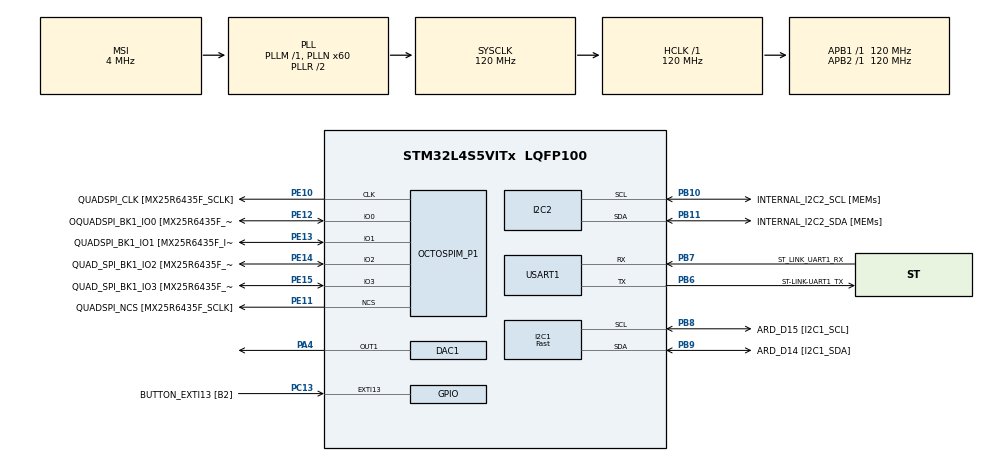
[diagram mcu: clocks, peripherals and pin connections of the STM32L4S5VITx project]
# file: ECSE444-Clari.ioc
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DAC1.DAC_Trigger-DAC_OUT1=DAC_TRIGGER_T1_TRGO
Dma.DAC1_CH1.0.Direction=DMA_MEMORY_TO_PERIPH
Dma.DAC1_CH1.0.EventEnable=DISABLE
Dma.DAC1_CH1.0.Instance=DMA1_Channel1
Dma.DAC1_CH1.0.MemDataAlignment=DMA_MDATAALIGN_WORD
Dma.DAC1_CH1.0.MemInc=DMA_MINC_ENABLE
Dma.DAC1_CH1.0.Mode=DMA_NORMAL
Dma.DAC1_CH1.0.PeriphDataAlignment=DMA_PDATAALIGN_WORD
Dma.DAC1_CH1.0.PeriphInc=DMA_PINC_DISABLE
Dma.DAC1_CH1.0.Polarity=HAL_DMAMUX_REQUEST_GEN_RISING
Dma.DAC1_CH1.0.Priority=DMA_PRIORITY_HIGH
Dma.DAC1_CH1.0.RequestNumber=1
Dma.DAC1_CH1.0.SignalID=NONE
Dma.DAC1_CH1.0.SyncEnable=DISABLE
Dma.DAC1_CH1.0.SyncPolarity=HAL_DMAMUX_SYNC_NO_EVENT
Dma.DAC1_CH1.0.SyncRequestNumber=1
Dma.DAC1_CH1.0.SyncSignalID=NONE
Dma.Request0=DAC1_CH1
I2C1.I2C_Speed_Mode=I2C_Fast
I2C1.Timing=0x00B03FDB
I2C2.Timing=0x307075B1
Mcu.Family=STM32L4
Mcu.Name=STM32L4S5VITx
Mcu.Package=LQFP100
NVIC.DMA1_Channel1_IRQn=true\:0\:0\:false\:false\:true\:false\:true\:true
NVIC.EXTI15_10_IRQn=true\:0\:0\:false\:false\:true\:true\:true\:true
NVIC.PriorityGroup=NVIC_PRIORITYGROUP_4
NVIC.TIM1_TRG_COM_TIM17_IRQn=true\:0\:0\:false\:false\:true\:true\:true\:true
NVIC.TIM1_UP_TIM16_IRQn=true\:0\:0\:false\:false\:true\:true\:true\:true
NVIC.TIM2_IRQn=true\:0\:0\:false\:false\:true\:true\:true\:true
PA13\ (JTMS/SWDIO).GPIO_Label=SYS_JTMS_SWDIO
PA13\ (JTMS/SWDIO).Mode=Serial_Wire
PA13\ (JTMS/SWDIO).Signal=SYS_JTMS-SWDIO
PA14\ (JTCK/SWCLK).GPIO_Label=SYS_JTCK_SWCLK
PA14\ (JTCK/SWCLK).Mode=Serial_Wire
PA14\ (JTCK/SWCLK).Signal=SYS_JTCK-SWCLK
PA4.Signal=COMP_DAC11_group
PB10.GPIO_Label=INTERNAL_I2C2_SCL [MEMs]
PB10.GPIO_Mode=GPIO_MODE_AF_OD
PB10.GPIO_PuPdOD=GPIO_PULLUP
PB10.GPIO_Speed=GPIO_SPEED_FREQ_VERY_HIGH
PB10.Mode=I2C
PB10.Signal=I2C2_SCL
PB11.GPIO_Label=INTERNAL_I2C2_SDA [MEMs]
PB11.GPIO_Mode=GPIO_MODE_AF_OD
PB11.GPIO_PuPdOD=GPIO_PULLUP
PB11.GPIO_Speed=GPIO_SPEED_FREQ_VERY_HIGH
PB11.Mode=I2C
PB11.Signal=I2C2_SDA
PB6.GPIO_Label=ST-LINK-UART1_TX
PB6.GPIO_ModeDefaultPP=GPIO_MODE_AF_PP
PB6.GPIO_PuPd=GPIO_NOPULL
PB6.GPIO_Speed=GPIO_SPEED_FREQ_VERY_HIGH
PB6.Mode=Asynchronous
PB6.Signal=USART1_TX
PB7.GPIO_Label=ST_LINK_UART1_RX
PB7.GPIO_ModeDefaultPP=GPIO_MODE_AF_PP
PB7.GPIO_PuPd=GPIO_NOPULL
PB7.GPIO_Speed=GPIO_SPEED_FREQ_VERY_HIGH
PB7.Mode=Asynchronous
PB7.Signal=USART1_RX
PB8.GPIO_FM8=__NULL
PB8.GPIO_Label=ARD_D15 [I2C1_SCL]
PB8.GPIO_Mode=GPIO_MODE_AF_OD
PB8.GPIO_PuPdOD=GPIO_PULLUP
PB8.GPIO_Speed=GPIO_SPEED_FREQ_VERY_HIGH
PB8.Mode=I2C
PB8.Signal=I2C1_SCL
PB9.GPIO_FM9=__NULL
PB9.GPIO_Label=ARD_D14 [I2C1_SDA]
PB9.GPIO_Mode=GPIO_MODE_AF_OD
PB9.GPIO_PuPdOD=GPIO_PULLUP
PB9.GPIO_Speed=GPIO_SPEED_FREQ_VERY_HIGH
PB9.Mode=I2C
PB9.Signal=I2C1_SDA
PC13.GPIO_Label=BUTTON_EXTI13 [B2]
PC13.GPIO_ModeDefaultEXTI=GPIO_MODE_IT_RISING
PC13.GPIO_PuPd=GPIO_NOPULL
PC13.Signal=GPXTI13
PE10.GPIO_Label=QUADSPI_CLK [MX25R6435F_SCLK]
PE10.GPIO_Mode=GPIO_MODE_AF_PP
PE10.GPIO_PuPd=GPIO_NOPULL
PE10.GPIO_Speed_High_Default=GPIO_SPEED_FREQ_VERY_HIGH
PE10.Mode=O1_P1_CLK
PE10.Signal=OCTOSPIM_P1_CLK
PE11.GPIO_Label=QUADSPI_NCS [MX25R6435F_SCLK]
PE11.GPIO_Mode=GPIO_MODE_AF_PP
PE11.GPIO_PuPd=GPIO_NOPULL
PE11.GPIO_Speed_High_Default=GPIO_SPEED_FREQ_VERY_HIGH
PE11.Mode=OCTOSPI1_Port1_NCS
PE11.Signal=OCTOSPIM_P1_NCS
PE12.GPIO_Label=OQUADSPI_BK1_IO0 [MX25R6435F_IO0]
PE12.GPIO_Mode=GPIO_MODE_AF_PP
PE12.GPIO_PuPd=GPIO_NOPULL
PE12.GPIO_Speed_High_Default=GPIO_SPEED_FREQ_VERY_HIGH
PE12.Mode=OCTOSPI1_IOL_Port1L
PE12.Signal=OCTOSPIM_P1_IO0
PE13.GPIO_Label=QUADSPI_BK1_IO1 [MX25R6435F_IO1]
PE13.GPIO_Mode=GPIO_MODE_AF_PP
PE13.GPIO_PuPd=GPIO_NOPULL
PE13.GPIO_Speed_High_Default=GPIO_SPEED_FREQ_VERY_HIGH
PE13.Mode=OCTOSPI1_IOL_Port1L
PE13.Signal=OCTOSPIM_P1_IO1
PE14.GPIO_Label=QUAD_SPI_BK1_IO2 [MX25R6435F_IO2]
PE14.GPIO_Mode=GPIO_MODE_AF_PP
PE14.GPIO_PuPd=GPIO_NOPULL
PE14.GPIO_Speed_High_Default=GPIO_SPEED_FREQ_VERY_HIGH
PE14.Mode=OCTOSPI1_IOL_Port1L
PE14.Signal=OCTOSPIM_P1_IO2
PE15.GPIO_Label=QUAD_SPI_BK1_IO3 [MX25R6435F_IO3]
PE15.GPIO_Mode=GPIO_MODE_AF_PP
PE15.GPIO_PuPd=GPIO_NOPULL
PE15.GPIO_Speed_High_Default=GPIO_SPEED_FREQ_VERY_HIGH
PE15.Mode=OCTOSPI1_IOL_Port1L
PE15.Signal=OCTOSPIM_P1_IO3
ProjectManager.HeapSize=0x200
ProjectManager.StackSize=0x400
ProjectManager.TargetToolchain=STM32CubeIDE
RCC.ADCFreq_Value=48000000
RCC.AHBFreq_Value=120000000
RCC.APB1Freq_Value=120000000
RCC.APB1TimFreq_Value=120000000
RCC.APB2Freq_Value=120000000
RCC.APB2TimFreq_Value=120000000
RCC.CortexFreq_Value=120000000
RCC.HCLKFreq_Value=120000000
RCC.HSE_VALUE=8000000
RCC.HSI48_VALUE=48000000
RCC.HSI_VALUE=16000000
RCC.LSE_VALUE=32768
RCC.MSI_VALUE=4000000
RCC.PLLN=60
RCC.PLLSAI1N=24
RCC.SYSCLKFreq_VALUE=120000000
RCC.SYSCLKSource=RCC_SYSCLKSOURCE_PLLCLK
RCC.USBFreq_Value=48000000
RCC.VCOOutputFreq_Value=240000000
SH.COMP_DAC11_group.0=DAC1_OUT1,DAC_OUT1
TIM1.Period=2722
TIM1.TIM_MasterOutputTrigger=TIM_TRGO_UPDATE
TIM1.TIM_MasterOutputTrigger2=TIM_TRGO2_UPDATE
TIM2.Period=1000000
TIM2.Prescaler=120
TIM2.TIM_MasterOutputTrigger=TIM_TRGO_UPDATE
USART1.VirtualMode-Asynchronous=VM_ASYNC
VP_OCTOSPI1_VS_quad.Mode=quad_mode
VP_TIM1_VS_ClockSourceINT.Mode=Internal
VP_TIM2_VS_ClockSourceINT.Mode=Internal
board=B-L4S5I-IOT01A

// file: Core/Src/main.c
/* USER CODE BEGIN Header */
/**
  ******************************************************************************
  * @file           : main.c
  * @brief          : Main program body
  * @author			: clarissabaciu
  ******************************************************************************
  * @attention
  *
  * Copyright (c) 2023 STMicroelectronics.
  * All rights reserved.
  *
  * This software is licensed under terms that can be found in the LICENSE file
  * in the root directory of this software component.
  * If no LICENSE file comes with this software, it is provided AS-IS.
  *
  ******************************************************************************
  */
/* USER CODE END Header */
#include "main.h"

/* USER CODE BEGIN Includes */
#include <math.h>
#define ARM_MATH_CM4
#include "arm_math.h"
#include <stdio.h>
#include <stdlib.h>
#include "stm32l4s5i_iot01.h"
#include "stm32l4s5i_iot01_gyro.h"
#include "stm32l4s5i_iot01_accelero.h"
#include "maze.h"
#include "sensor_fusion.h"
#include "ball_kinematics.h"
#include "ssd1306.h"

/* USER CODE END Includes */

DAC_HandleTypeDef hdac1;
DMA_HandleTypeDef hdma_dac1_ch1;

I2C_HandleTypeDef hi2c1;
I2C_HandleTypeDef hi2c2;

OSPI_HandleTypeDef hospi1;

TIM_HandleTypeDef htim1;
TIM_HandleTypeDef htim2;

UART_HandleTypeDef huart1;

/* USER CODE BEGIN PV */
float orientation[2];
float x = 0;
float y = 0;
int timeSec; //time in seconds
int overBool = 0;
int winBool = 0;

char buffer[100] = ""; // buffer for COM port
/* USER CODE END PV */

void SystemClock_Config(void);
static void MX_GPIO_Init(void);
static void MX_DMA_Init(void);
static void MX_I2C1_Init(void);
static void MX_USART1_UART_Init(void);
static void MX_I2C2_Init(void);
static void MX_OCTOSPI1_Init(void);
static void MX_DAC1_Init(void);
static void MX_TIM2_Init(void);
static void MX_TIM1_Init(void);
/* USER CODE BEGIN PFP */
void configure_channels(int i);

/* USER CODE END PFP */

/* USER CODE BEGIN 0 */

#define VREFINT ((uint16_t*)(uint32_t)0x1FFF75AA)
#define TS_CAL1 ((uint16_t*)(uint32_t)0x1FFF75A8) //TS ADC raw data acquired at a temperature of 30 °C  (AROUND 3 V)
#define TS_CAL2 ((uint16_t*)(uint32_t)0x1FFF75CA) //TS ADC raw data acquired at a temperature of 130 °C

#define TS_CAL1_TEMP ((float)30.0) //temp used to measure TS_CAL1
#define TS_CAL2_TEMP ((float) 130.0) //temp used to measure TS_CAL2
#define SAMPLING_FREQUENCY 1000.0 // 10 Hz

#define BALL_START_POS_X 71
#define BALL_START_POS_Y 58
#define TIMESTEP 0.01

#define MAXTIME 30 //max time attribute to the user

/* USER CODE END 0 */

int main(void)
{

  /* MCU Configuration--------------------------------------------------------*/

  /* Reset of all peripherals, Initializes the Flash interface and the Systick. */
  HAL_Init();

  /* Configure the system clock */
  SystemClock_Config();

  /* Initialize all configured peripherals */
  MX_GPIO_Init();
  MX_DMA_Init();
  MX_I2C1_Init();
  MX_USART1_UART_Init();
  MX_I2C2_Init();
  MX_OCTOSPI1_Init();
  MX_DAC1_Init();
  MX_TIM2_Init();
  MX_TIM1_Init();
  /* USER CODE BEGIN 2 */

  // Initialize sensors
  Sensors_Init();
  mazeDisplayInit();
  displayMaze1();

  //determine start position
  int startPosition = determineStartPosition();
  int startRow = startPosition /16;
  int startColumn = startPosition % 16;

  int xPosition = startColumn * 8 +4;
  int yPosition = startRow * 8 + 4;

  // set sampling frequency and measure gyro bias
  Set_Sampling_Frequency(SAMPLING_FREQUENCY);
  Measure_Gyro_Bias();

  //initalize ball posiiton
  Init_Ball(xPosition,yPosition);

  // initialize maze and ball
  Initialize_Game(TIMESTEP);

  //start timers
  HAL_DAC_Start(&hdac1, DAC_CHANNEL_1);
  HAL_TIM_Base_Start_IT(&htim1);
  HAL_TIM_Base_Start_IT(&htim2);

  /* USER CODE END 2 */

  /* Infinite loop */
  /* USER CODE BEGIN WHILE */
  int counter = 0; //counter is used to play with frequency of the events in the main loop
  timeSec = 0;    //seconds that have elapsed
//  updateTime(timeSec);

  while (1)
  {

    /* USER CODE END WHILE */

    /* USER CODE BEGIN 3 */

	  if (timeSec > MAXTIME){
		  overBool = 1; //set to 1 to stop timer
		  gameOver();   //call gameover sequence
		  winBool = 1; // to enter the reinitializaiton section to restart the game
	  }
	  if (winBool == 1){ //if win has been found
		if (overBool!=1){
			winSequence();
		}
      //restart adn reinitialize the game the game
      clearScreen();
      selectRandomMaze();
      int startPosition = determineStartPosition();
      int startRow = startPosition /16;
      int startColumn = startPosition % 16;

      int xPosition = startColumn * 8 +4;
      int yPosition = startRow * 8 + 4;

      Init_Ball(xPosition,yPosition);
      displayMaze1();
      Initialize_Game(TIMESTEP);
      timeSec = 0;  //initialize timer to 0
      winBool = 0; //reset = booleans
      overBool = 0;
	  }

	  Measure_Orientation(orientation);
	  x = orientation[0];
	  y = orientation[1];

	  HAL_Delay(1);

	  if (counter%10 == 0) {
		 winBool = Determine_Ball_Movement(&x, &y);
	  }
	  if (counter%100 == 0) {
		  displayMaze1();
	  }

	  counter++;
  }

  /* USER CODE END 3 */
}

void SystemClock_Config(void)
{
  RCC_OscInitTypeDef RCC_OscInitStruct = {0};
  RCC_ClkInitTypeDef RCC_ClkInitStruct = {0};

  /** Configure the main internal regulator output voltage
  */
  if (HAL_PWREx_ControlVoltageScaling(PWR_REGULATOR_VOLTAGE_SCALE1_BOOST) != HAL_OK)
  {
    Error_Handler();
  }

  /** Initializes the RCC Oscillators according to the specified parameters
  * in the RCC_OscInitTypeDef structure.
  */
  RCC_OscInitStruct.OscillatorType = RCC_OSCILLATORTYPE_MSI;
  RCC_OscInitStruct.MSIState = RCC_MSI_ON;
  RCC_OscInitStruct.MSICalibrationValue = 0;
  RCC_OscInitStruct.MSIClockRange = RCC_MSIRANGE_6;
  RCC_OscInitStruct.PLL.PLLState = RCC_PLL_ON;
  RCC_OscInitStruct.PLL.PLLSource = RCC_PLLSOURCE_MSI;
  RCC_OscInitStruct.PLL.PLLM = 1;
  RCC_OscInitStruct.PLL.PLLN = 60;
  RCC_OscInitStruct.PLL.PLLP = RCC_PLLP_DIV2;
  RCC_OscInitStruct.PLL.PLLQ = RCC_PLLQ_DIV2;
  RCC_OscInitStruct.PLL.PLLR = RCC_PLLR_DIV2;
  if (HAL_RCC_OscConfig(&RCC_OscInitStruct) != HAL_OK)
  {
    Error_Handler();
  }

  /** Initializes the CPU, AHB and APB buses clocks
  */
  RCC_ClkInitStruct.ClockType = RCC_CLOCKTYPE_HCLK|RCC_CLOCKTYPE_SYSCLK
                              |RCC_CLOCKTYPE_PCLK1|RCC_CLOCKTYPE_PCLK2;
  RCC_ClkInitStruct.SYSCLKSource = RCC_SYSCLKSOURCE_PLLCLK;
  RCC_ClkInitStruct.AHBCLKDivider = RCC_SYSCLK_DIV1;
  RCC_ClkInitStruct.APB1CLKDivider = RCC_HCLK_DIV1;
  RCC_ClkInitStruct.APB2CLKDivider = RCC_HCLK_DIV1;

  if (HAL_RCC_ClockConfig(&RCC_ClkInitStruct, FLASH_LATENCY_5) != HAL_OK)
  {
    Error_Handler();
  }
}

static void MX_DAC1_Init(void)
{

  DAC_ChannelConfTypeDef sConfig = {0};

  /** DAC Initialization
  */
  hdac1.Instance = DAC1;
  if (HAL_DAC_Init(&hdac1) != HAL_OK)
  {
    Error_Handler();
  }

  /** DAC channel OUT1 config
  */
  sConfig.DAC_SampleAndHold = DAC_SAMPLEANDHOLD_DISABLE;
  sConfig.DAC_Trigger = DAC_TRIGGER_T1_TRGO;
  sConfig.DAC_HighFrequency = DAC_HIGH_FREQUENCY_INTERFACE_MODE_ABOVE_80MHZ;
  sConfig.DAC_OutputBuffer = DAC_OUTPUTBUFFER_ENABLE;
  sConfig.DAC_ConnectOnChipPeripheral = DAC_CHIPCONNECT_DISABLE;
  sConfig.DAC_UserTrimming = DAC_TRIMMING_FACTORY;
  if (HAL_DAC_ConfigChannel(&hdac1, &sConfig, DAC_CHANNEL_1) != HAL_OK)
  {
    Error_Handler();
  }

}

static void MX_I2C1_Init(void)
{

  hi2c1.Instance = I2C1;
  hi2c1.Init.Timing = 0x00B03FDB;
  hi2c1.Init.OwnAddress1 = 0;
  hi2c1.Init.AddressingMode = I2C_ADDRESSINGMODE_7BIT;
  hi2c1.Init.DualAddressMode = I2C_DUALADDRESS_DISABLE;
  hi2c1.Init.OwnAddress2 = 0;
  hi2c1.Init.OwnAddress2Masks = I2C_OA2_NOMASK;
  hi2c1.Init.GeneralCallMode = I2C_GENERALCALL_DISABLE;
  hi2c1.Init.NoStretchMode = I2C_NOSTRETCH_DISABLE;
  if (HAL_I2C_Init(&hi2c1) != HAL_OK)
  {
    Error_Handler();
  }

  /** Configure Analogue filter
  */
  if (HAL_I2CEx_ConfigAnalogFilter(&hi2c1, I2C_ANALOGFILTER_ENABLE) != HAL_OK)
  {
    Error_Handler();
  }

  /** Configure Digital filter
  */
  if (HAL_I2CEx_ConfigDigitalFilter(&hi2c1, 0) != HAL_OK)
  {
    Error_Handler();
  }

}

static void MX_I2C2_Init(void)
{

  hi2c2.Instance = I2C2;
  hi2c2.Init.Timing = 0x307075B1;
  hi2c2.Init.OwnAddress1 = 0;
  hi2c2.Init.AddressingMode = I2C_ADDRESSINGMODE_7BIT;
  hi2c2.Init.DualAddressMode = I2C_DUALADDRESS_DISABLE;
  hi2c2.Init.OwnAddress2 = 0;
  hi2c2.Init.OwnAddress2Masks = I2C_OA2_NOMASK;
  hi2c2.Init.GeneralCallMode = I2C_GENERALCALL_DISABLE;
  hi2c2.Init.NoStretchMode = I2C_NOSTRETCH_DISABLE;
  if (HAL_I2C_Init(&hi2c2) != HAL_OK)
  {
    Error_Handler();
  }

  /** Configure Analogue filter
  */
  if (HAL_I2CEx_ConfigAnalogFilter(&hi2c2, I2C_ANALOGFILTER_ENABLE) != HAL_OK)
  {
    Error_Handler();
  }

  /** Configure Digital filter
  */
  if (HAL_I2CEx_ConfigDigitalFilter(&hi2c2, 0) != HAL_OK)
  {
    Error_Handler();
  }

}

static void MX_OCTOSPI1_Init(void)
{

  OSPIM_CfgTypeDef OSPIM_Cfg_Struct = {0};

  /* OCTOSPI1 parameter configuration*/
  hospi1.Instance = OCTOSPI1;
  hospi1.Init.FifoThreshold = 1;
  hospi1.Init.DualQuad = HAL_OSPI_DUALQUAD_DISABLE;
  hospi1.Init.MemoryType = HAL_OSPI_MEMTYPE_MICRON;
  hospi1.Init.DeviceSize = 32;
  hospi1.Init.ChipSelectHighTime = 1;
  hospi1.Init.FreeRunningClock = HAL_OSPI_FREERUNCLK_DISABLE;
  hospi1.Init.ClockMode = HAL_OSPI_CLOCK_MODE_0;
  hospi1.Init.ClockPrescaler = 1;
  hospi1.Init.SampleShifting = HAL_OSPI_SAMPLE_SHIFTING_NONE;
  hospi1.Init.DelayHoldQuarterCycle = HAL_OSPI_DHQC_DISABLE;
  hospi1.Init.ChipSelectBoundary = 0;
  hospi1.Init.DelayBlockBypass = HAL_OSPI_DELAY_BLOCK_BYPASSED;
  if (HAL_OSPI_Init(&hospi1) != HAL_OK)
  {
    Error_Handler();
  }
  OSPIM_Cfg_Struct.ClkPort = 1;
  OSPIM_Cfg_Struct.NCSPort = 1;
  OSPIM_Cfg_Struct.IOLowPort = HAL_OSPIM_IOPORT_1_LOW;
  if (HAL_OSPIM_Config(&hospi1, &OSPIM_Cfg_Struct, HAL_OSPI_TIMEOUT_DEFAULT_VALUE) != HAL_OK)
  {
    Error_Handler();
  }

}

static void MX_TIM1_Init(void)
{

  TIM_ClockConfigTypeDef sClockSourceConfig = {0};
  TIM_MasterConfigTypeDef sMasterConfig = {0};

  htim1.Instance = TIM1;
  htim1.Init.Prescaler = 0;
  htim1.Init.CounterMode = TIM_COUNTERMODE_UP;
  htim1.Init.Period = 2722;
  htim1.Init.ClockDivision = TIM_CLOCKDIVISION_DIV1;
  htim1.Init.RepetitionCounter = 0;
  htim1.Init.AutoReloadPreload = TIM_AUTORELOAD_PRELOAD_DISABLE;
  if (HAL_TIM_Base_Init(&htim1) != HAL_OK)
  {
    Error_Handler();
  }
  sClockSourceConfig.ClockSource = TIM_CLOCKSOURCE_INTERNAL;
  if (HAL_TIM_ConfigClockSource(&htim1, &sClockSourceConfig) != HAL_OK)
  {
    Error_Handler();
  }
  sMasterConfig.MasterOutputTrigger = TIM_TRGO_UPDATE;
  sMasterConfig.MasterOutputTrigger2 = TIM_TRGO2_UPDATE;
  sMasterConfig.MasterSlaveMode = TIM_MASTERSLAVEMODE_DISABLE;
  if (HAL_TIMEx_MasterConfigSynchronization(&htim1, &sMasterConfig) != HAL_OK)
  {
    Error_Handler();
  }

}

static void MX_TIM2_Init(void)
{

  TIM_ClockConfigTypeDef sClockSourceConfig = {0};
  TIM_MasterConfigTypeDef sMasterConfig = {0};

  htim2.Instance = TIM2;
  htim2.Init.Prescaler = 120;
  htim2.Init.CounterMode = TIM_COUNTERMODE_UP;
  htim2.Init.Period = 1000000;
  htim2.Init.ClockDivision = TIM_CLOCKDIVISION_DIV1;
  htim2.Init.AutoReloadPreload = TIM_AUTORELOAD_PRELOAD_DISABLE;
  if (HAL_TIM_Base_Init(&htim2) != HAL_OK)
  {
    Error_Handler();
  }
  sClockSourceConfig.ClockSource = TIM_CLOCKSOURCE_INTERNAL;
  if (HAL_TIM_ConfigClockSource(&htim2, &sClockSourceConfig) != HAL_OK)
  {
    Error_Handler();
  }
  sMasterConfig.MasterOutputTrigger = TIM_TRGO_UPDATE;
  sMasterConfig.MasterSlaveMode = TIM_MASTERSLAVEMODE_DISABLE;
  if (HAL_TIMEx_MasterConfigSynchronization(&htim2, &sMasterConfig) != HAL_OK)
  {
    Error_Handler();
  }

}

static void MX_USART1_UART_Init(void)
{

  huart1.Instance = USART1;
  huart1.Init.BaudRate = 115200;
  huart1.Init.WordLength = UART_WORDLENGTH_8B;
  huart1.Init.StopBits = UART_STOPBITS_1;
  huart1.Init.Parity = UART_PARITY_NONE;
  huart1.Init.Mode = UART_MODE_TX_RX;
  huart1.Init.HwFlowCtl = UART_HWCONTROL_NONE;
  huart1.Init.OverSampling = UART_OVERSAMPLING_16;
  huart1.Init.OneBitSampling = UART_ONE_BIT_SAMPLE_DISABLE;
  huart1.Init.ClockPrescaler = UART_PRESCALER_DIV1;
  huart1.AdvancedInit.AdvFeatureInit = UART_ADVFEATURE_NO_INIT;
  if (HAL_UART_Init(&huart1) != HAL_OK)
  {
    Error_Handler();
  }
  if (HAL_UARTEx_SetTxFifoThreshold(&huart1, UART_TXFIFO_THRESHOLD_1_8) != HAL_OK)
  {
    Error_Handler();
  }
  if (HAL_UARTEx_SetRxFifoThreshold(&huart1, UART_RXFIFO_THRESHOLD_1_8) != HAL_OK)
  {
    Error_Handler();
  }
  if (HAL_UARTEx_DisableFifoMode(&huart1) != HAL_OK)
  {
    Error_Handler();
  }

}

static void MX_DMA_Init(void)
{

  /* DMA controller clock enable */
  __HAL_RCC_DMAMUX1_CLK_ENABLE();
  __HAL_RCC_DMA1_CLK_ENABLE();

  /* DMA interrupt init */
  /* DMA1_Channel1_IRQn interrupt configuration */
  HAL_NVIC_SetPriority(DMA1_Channel1_IRQn, 0, 0);
  HAL_NVIC_EnableIRQ(DMA1_Channel1_IRQn);

}

static void MX_GPIO_Init(void)
{
  GPIO_InitTypeDef GPIO_InitStruct = {0};

  /* GPIO Ports Clock Enable */
  __HAL_RCC_GPIOC_CLK_ENABLE();
  __HAL_RCC_GPIOA_CLK_ENABLE();
  __HAL_RCC_GPIOE_CLK_ENABLE();
  __HAL_RCC_GPIOB_CLK_ENABLE();

  /*Configure GPIO pin : BUTTON_EXTI13_Pin */
  GPIO_InitStruct.Pin = BUTTON_EXTI13_Pin;
  GPIO_InitStruct.Mode = GPIO_MODE_IT_RISING;
  GPIO_InitStruct.Pull = GPIO_NOPULL;
  HAL_GPIO_Init(BUTTON_EXTI13_GPIO_Port, &GPIO_InitStruct);

  /* EXTI interrupt init*/
  HAL_NVIC_SetPriority(EXTI15_10_IRQn, 0, 0);
  HAL_NVIC_EnableIRQ(EXTI15_10_IRQn);

}

/* USER CODE BEGIN 4 */
//call back function for timer interrupt
void HAL_TIM_PeriodElapsedCallback(TIM_HandleTypeDef *htim)
{
	if (htim->Instance == TIM2 && winBool == 0 && overBool == 0 ) { //make sure the timer does not continue with a win or loss has been detected
		timeSec++; //upate total time elapsed
		updateTime(timeSec, MAXTIME);   //update the screen
	}
}

//callback function for hardware interrupt
void HAL_GPIO_EXTI_Callback(uint16_t GPIO_Pin){ //reinitialize the maze and the timer and restart the game
	if (GPIO_Pin == GPIO_PIN_13) { //verify pin
		clearScreen();
		selectRandomMaze();
		int startPosition = determineStartPosition();
		int startRow = startPosition /16;
		int startColumn = startPosition % 16;

		int xPosition = startColumn * 8 +4;
		int yPosition = startRow * 8 + 4;

    timeSec = 0;
    winBool = 0;
    overBool = 0;
		Init_Ball(xPosition,yPosition);
		displayMaze1();
		Initialize_Game(TIMESTEP);
	}
}

//function for printing to console (swb port 0)
int _write(int file, char *ptr, int len)
{
  (void)file;
  int DataIdx;

  for (DataIdx = 0; DataIdx < len; DataIdx++)
  {
	  ITM_SendChar(*ptr++);
  }
  return len;
}

float sineWrapper(float value) {
	return arm_sin_f32(value);
}
/* USER CODE END 4 */

void Error_Handler(void)
{
  __disable_irq();
  while (1)
  {
  }
}
